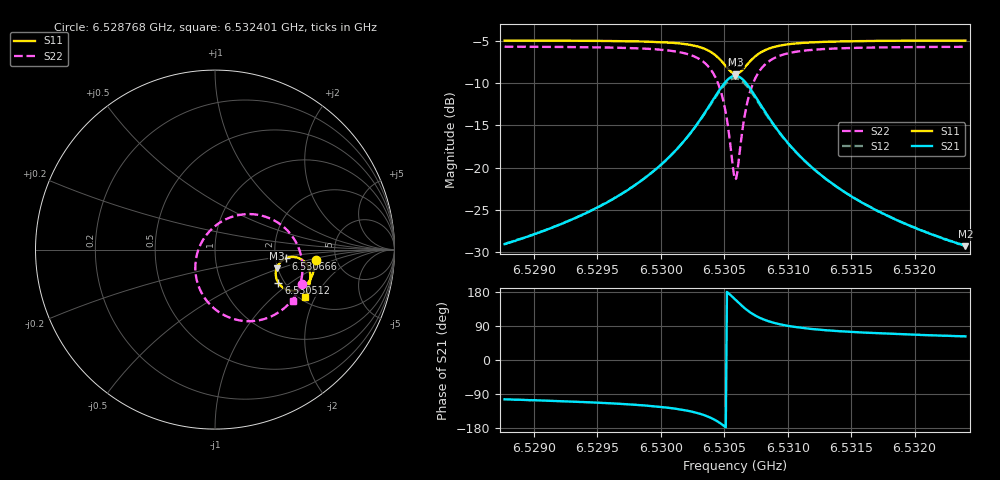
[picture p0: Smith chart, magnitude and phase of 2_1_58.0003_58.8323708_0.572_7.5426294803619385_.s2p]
#  HZ  S  RI  R  50.00
! Rohde & Schwarz Vector Network Analyzer
! Rohde-Schwarz,ZNB20-2Port,1311601062101988,3.16
! Created: UTC 3/21/2024, 12:50:19 AM
! freq[Hz]  re:S11  im:S11  re:S21  im:S21  re:S12  im:S12  re:S22  im:S22
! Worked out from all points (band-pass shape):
!   401 points, 6.528768 GHz to 6.532401 GHz, reference 50 ohm
!   highest |S21| = -9.13 dB at 6.530585 GHz (marker M1); lowest = -29.3 dB at 6.532401 GHz (marker M2)
!   |S21| within 3 dB of the highest: 6.530405 GHz to 6.530768 GHz (363.2 kHz wide, 0.00556 % of centre)
!   lowest |S11| = -8.9 dB at 6.530594 GHz (marker M3), VSWR 2.12, Z = 98.7 - j23.4 ohm
!   |S11| at or under -10 dB: nowhere
!   |S22| runs from -21.4 to -5.7 dB; largest |S21 - S12| = 0.015
!   S11 on the Smith chart (normalised r, x): 6.528768 GHz: 3.48, -0.57; 6.530512 GHz: 1.86, -0.82; 6.530666 GHz: 2.27, -0.27; 6.532401 GHz: 2.11, -1.65
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6.5287683e9  0.5612 -0.0563  -0.0084 -0.0343  -0.00915 -0.0342  0.4834 -0.19
6.5293768e9  0.5522 -0.1094  -0.0186 -0.0489  -0.0199 -0.0486  0.4509 -0.2519
6.5296946e9  0.5422 -0.1412  -0.0309 -0.0631  -0.0326 -0.0624  0.4189 -0.2941
6.5299852e9  0.5248 -0.176  -0.0558 -0.0849  -0.0584 -0.0832  0.3622 -0.3443
6.5302032e9  0.4947 -0.2086  -0.1031 -0.109  -0.1066 -0.1053  0.2671 -0.3889
6.5303576e9  0.4448 -0.2285  -0.1834 -0.1166  -0.1861 -0.1085  0.1202 -0.391
6.5304484e9  0.3929 -0.2201  -0.2651 -0.0839  -0.2635 -0.072  -0.0149 -0.3188
6.5304847e9  0.3691 -0.2044  -0.3005 -0.0496  -0.2955 -0.0372  -0.0678 -0.2535
6.530512e9  0.3534 -0.1856  -0.3228 -0.013  -0.3146 -0.00098  -0.0972 -0.1873
6.5305664e9  0.3382 -0.1326  -0.3368 0.0843  -0.3237 0.0911  -0.1002 -0.0245
6.5305846e9  0.3409 -0.1129  -0.3286 0.1188  -0.3149 0.1232  -0.0799 0.0302
6.5305937e9  0.3437 -0.1034  -0.3221 0.1353  -0.3081 0.1383  -0.0658 0.0559
6.5306118e9  0.3523 -0.0857  -0.3041 0.1655  -0.2908 0.1663  -0.0308 0.1021
6.5306663e9  0.3931 -0.0494  -0.2275 0.2256  -0.2182 0.2216  0.1058 0.1863
6.5307027e9  0.4234 -0.0414  -0.1738 0.2384  -0.1676 0.2337  0.1977 0.1979
6.530739e9  0.4501 -0.0428  -0.1275 0.2359  -0.1235 0.2316  0.275 0.1852
6.530857e9  0.5028 -0.0722  -0.0386 0.1912  -0.0371 0.1893  0.419 0.089
6.5309842e9  0.5237 -0.1061  -0.0029 0.1452  -0.00168 0.1444  0.4711 -0.0039
6.531193e9  0.5313 -0.1467  0.0144 0.0991  0.0155 0.0988  0.4877 -0.0998
6.5314473e9  0.5286 -0.1811  0.0183 0.0696  0.0193 0.0692  0.481 -0.1671
6.5318015e9  0.5194 -0.2172  0.0181 0.0481  0.0189 0.0477  0.4639 -0.2242
6.5324009e9  0.4991 -0.2661  0.016 0.0304  0.0166 0.0303  0.433 -0.2853
